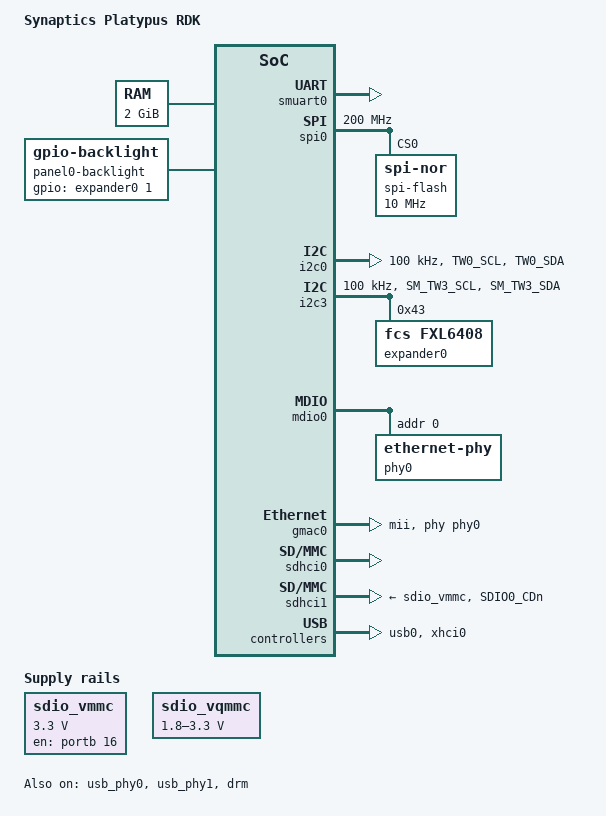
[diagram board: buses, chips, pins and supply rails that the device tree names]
// SPDX-License-Identifier: GPL-2.0+
/*
 * Copyright (C) 2016~2023 Synaptics Incorporated. All rights reserved.
 *
 * This program is free software; you can redistribute it and/or modify
 * it under the terms of the GNU General Public License version 2 or
 * later as published by the Free Software Foundation.
 *
 * INFORMATION CONTAINED IN THIS DOCUMENT IS PROVIDED "AS-IS," AND
 * SYNAPTICS EXPRESSLY DISCLAIMS ALL EXPRESS AND IMPLIED WARRANTIES,
 * INCLUDING ANY IMPLIED WARRANTIES OF MERCHANTABILITY AND FITNESS FOR
 * A PARTICULAR PURPOSE, AND ANY WARRANTIES OF NON-INFRINGEMENT OF ANY
 * INTELLECTUAL PROPERTY RIGHTS. IN NO EVENT SHALL SYNAPTICS BE LIABLE
 * FOR ANY DIRECT, INDIRECT, INCIDENTAL, SPECIAL, PUNITIVE, OR
 * CONSEQUENTIAL DAMAGES ARISING OUT OF OR IN CONNECTION WITH THE USE
 * OF THE INFORMATION CONTAINED IN THIS DOCUMENT, HOWEVER CAUSED AND
 * BASED ON ANY THEORY OF LIABILITY, WHETHER IN AN ACTION OF CONTRACT,
 * NEGLIGENCE OR OTHER TORTIOUS ACTION, AND EVEN IF SYNAPTICS WAS
 * ADVISED OF THE POSSIBILITY OF SUCH DAMAGE. IF A TRIBUNAL OF
 * COMPETENT JURISDICTION DOES NOT PERMIT THE DISCLAIMER OF DIRECT
 * DAMAGES OR ANY OTHER DAMAGES, SYNAPTICS' TOTAL CUMULATIVE LIABILITY
 * TO ANY PARTY SHALL NOT EXCEED ONE HUNDRED U.S. DOLLARS.
 */

/dts-v1/;

#include "platypus.dtsi"
#include <dt-bindings/gpio/gpio.h>

/ {
	model = "Synaptics Platypus RDK";
	compatible = "Synaptics,platypus", "Synaptics,asserial";

	memory {
		device_type = "memory";
		reg = <0 0 0 0x80000000>;
	};

	chosen {
		stdout-path = &smuart0;
	};

	regulators {
		compatible = "simple-bus";
		#address-cells = <1>;
		#size-cells = <0>;

		sdio_vmmc: sdio_vmmc {
			compatible = "regulator-fixed";
			pinctrl-0 = <&sdio_vmmc_pmux>;
			pinctrl-names = "default";
			regulator-min-microvolt = <3300000>;
			regulator-max-microvolt = <3300000>;
			regulator-name = "vmmc_sdio";
			enable-active-high;
			gpio = <&portb 16 GPIO_ACTIVE_HIGH>;
		};

		sdio_vqmmc: sdio_vqmmc {
			compatible = "regulator-gpio";
			pinctrl-0 = <&sdio_vqmmc_pmux>;
			pinctrl-names = "default";
			regulator-min-microvolt = <1800000>;
			regulator-max-microvolt = <3300000>;
			regulator-name = "vqmmc_sdio";
			regulator-type = "voltage";
			states = <1800000 0x0 3300000 0x1>;
			gpios = <&porta 17 GPIO_ACTIVE_HIGH>;
		};
	};

	firmware {
		optee {
			compatible = "linaro,optee-tz";
			method = "smc";
		};
	};

	panel0-backlight {
		compatible = "gpio-backlight";
		gpios = <&expander0 1 GPIO_ACTIVE_HIGH>;
		status = "okay";
	};
};

&pinctrl {
	sdio_pmux: sdio_pmux{
		groups = "SDIO0_CDn";
		function = "sdio";
	};

	sdio_vmmc_pmux: sdio_vmmc_pmux{
		groups = "SDIO0_WP";
		function = "gpio";
	};

	sdio_vqmmc_pmux: sdio_vqmmc_pmux{
		groups = "I2S1_DO1";
		function = "gpio";
	};

	hdmi_pwr_pmux: hdmi_pwr-pmux {
		groups = "GPIO_A0";
		function = "gpio";
	};

	i2c0_pmux: i2c0-pmux {
		groups = "TW0_SCL", "TW0_SDA";
		function = "tw0";
	};
};

&sysmgr_pinctrl {
	sm_i2c_tw3_pmux: sm_i2c_tw3_pmux {
		groups = "SM_TW3_SCL", "SM_TW3_SDA";
		function = "tw3";
	};
};

&CPU_SLEEP_0 {
	status = "disabled";
};

&smuart0 {
	status = "okay";
};

&spi0 {
	status = "okay";
	max-write-size = <128>;
	clock-frequency = <200000000>;
	spi-flash@0 {
		#address-cells = <1>;
		#size-cells = <1>;
		compatible = "jedec,spi-nor";
		reg = <0>;
		memory-map = <0x0 0xf0000000 0x0 0x4000000>;
		spi-max-frequency = <10000000>;
	};
};

&i2c0 {
	status = "okay";
	pinctrl-names = "default";
	pinctrl-0 = <&i2c0_pmux>;
	clock-frequency = <100000>;
	i2c-sda-hold-time-ns = <449>;
	i2c-scl-rising-time-ns = <120>;
	i2c-scl-falling-time-ns = <20>;
};

&i2c3 {
	status = "okay";
	pinctrl-names = "default";
	pinctrl-0 = <&sm_i2c_tw3_pmux>;
	clock-frequency = <100000>;
	i2c-sda-hold-time-ns = <449>;
	i2c-scl-rising-time-ns = <120>;
	i2c-scl-falling-time-ns = <20>;

	expander0: gpio@43 {
		compatible = "fcs,fxl6408";
		reg = <0x43>;
		gpio-controller;
		#gpio-cells = <2>;
	};
};

&mdio0 {
	phy0: ethernet-phy@0 {
		reg = <0>;
	};
};

&gmac0 {
	status = "okay";
	max-speed = <100>;
	phy-mode = "mii";
	phy-handle = <&phy0>;
	phy = <&phy0>;
};

&sdhci0 {
	status = "okay";
	mmc-ddr-1_8v;
	mmc-hs200-1_8v;
	mmc-hs400-1_8v;
	fixed-voltage;
};

&sdhci1 {
	status="okay";
	pinctrl-0 = <&sdio_pmux>;
	pinctrl-names = "default";
	sdhci-sdio;
	cap-sd-highspeed;
	sd-uhs-sdr12;
	sd-uhs-sdr25;
	sd-uhs-sdr50;
	sd-uhs-sdr104;
	fixed-voltage;
	vmmc-supply = <&sdio_vmmc>;
	vqmmc-supply = <&sdio_vqmmc>;
};

&usb_phy0 {
	status = "okay";
};

&usb0 {
	status = "okay";
};

&usb_phy1 {
	status = "okay";
};

&xhci0 {
	status = "okay";
};

&drm {
	status = "okay";

	disp-mode = <0>;
	disp1-res-id = <13>;

	pinctrl-0 = <&hdmi_pwr_pmux>;
	pinctrl-names = "default";
	hdtx5v-gpio = <&portb 3 GPIO_ACTIVE_HIGH>; /* SOC GPIO 35 */

	dsi_panel {
		status= "okay";

		NO_OF_RESID =  <1>;
		DSI_RES =  <102>;
		ACTIVE_WIDTH = <800>;
		HFP = <60>;
		HSYNCWIDTH = <32>;
		HBP = <60>;
		ACTIVE_HEIGHT = <1280>;
		VFP = <16>;
		VSYNCWIDTH = <2>;
		VBP = <14>;
		TYPE = <1>;
		SCAN = <0>;
		FRAME_RATE = <9>;
		FLAG_3D = <0>;
		FREQ = <75000>;
		PTS_PER_4 = <6000>;

		bits_per_pixel = <24>;
		busformat = <0>;

		VB_MIN = /bits/ 8 <6>;
		HB_MIN = /bits/ 8 <30>;
		V_OFF = /bits/ 8 <6>;
		H_OFF = /bits/ 8 <20>;
		HB_VOP_OFF = /bits/ 8 <8>;
		VB_VOP_OFF = /bits/ 8 <3>;
		HB_BE = /bits/ 8 <7>;
		VB_BE = /bits/ 8 <2>;
		VB_FP = /bits/ 8 <2>;
		HB_FP = /bits/ 8 <10>;
		PIXEL_CLOCK = <75000>;

		HTOTAL = <952>;
		Lanes = /bits/ 8 <4>;
		Vid_mode = /bits/ 8 <2>;
		virtual_chan = /bits/ 8 <0>;
		Clk_Lane_Polarity = /bits/ 8 <0>;
		Data_Lane_Polarity = /bits/ 8 <0>;
		Recv_ack = /bits/ 8 <0>;
		Loosely_18 = /bits/ 8 <0>;
		H_polarity = /bits/ 8 <1>;
		V_Polarity = /bits/ 8 <1>;
		Data_Polarity = /bits/ 8 <1>;
		Eotp_tx = /bits/ 8 <1>;
		Eotp_rx = /bits/ 8 <0>;
		non-Continuous_clk = /bits/ 8 <1>;
		dpi_lp_cmd =  /bits/ 8 <1>;
		Color_coding = /bits/ 8 <5>;
		Chunks = <0>;
		Null_Pkt = <0>;
		Byte_clk = <56250>;
	};
};
